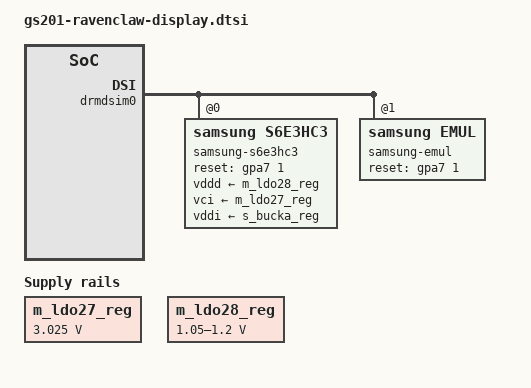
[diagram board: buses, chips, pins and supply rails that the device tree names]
// SPDX-License-Identifier: GPL-2.0-only
/*
 * Display nodes for slider-related boards.
 *
 * Copyright 2021 Google LLC
 *
 */

&drmdsim0 {
	samsung_s6e3hc3: panel@0 {
		compatible = "samsung,s6e3hc3";
		label = "samsung-s6e3hc3";
		channel = <0>;

		/* reset, power */
		reset-gpios = <&gpa7 1 GPIO_ACTIVE_HIGH>;
		vddd-supply = <&m_ldo28_reg>;
		vddd-normal-microvolt = <1200000>;
		vddd-lp-microvolt = <1050000>;
		vci-supply = <&m_ldo27_reg>;
		vddi-supply = <&s_bucka_reg>;
	};
	panel@1 {
		compatible = "samsung,emul";
		label = "samsung-emul";
		channel = <0>;

		/* reset, power */
		reset-gpios = <&gpa7 1 GPIO_ACTIVE_HIGH>;
	};
};

/* Keep VDDI always on */
&s_bucka_reg {
	regulator-always-on;
};

/* vci-supply voltage */
&m_ldo27_reg {
	regulator-min-microvolt = <3025000>;
	regulator-max-microvolt = <3025000>;
};

/* vddd-supply voltage */
&m_ldo28_reg {
	regulator-min-microvolt = <1050000>;
	regulator-max-microvolt = <1200000>;
	regulator-ramp-delay = <1200>;
	regulator-enable-ramp-delay = <125>;
};
